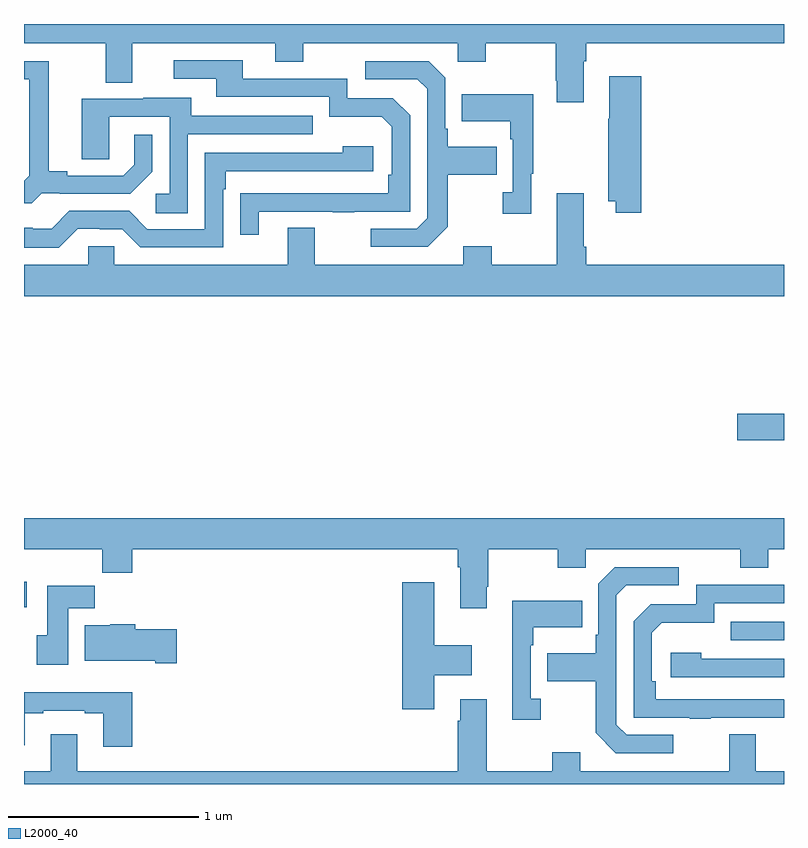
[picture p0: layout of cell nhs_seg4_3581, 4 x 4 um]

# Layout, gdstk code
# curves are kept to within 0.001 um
import gdstk
lib = gdstk.Library(unit=1e-6, precision=1e-09)
def R(c, l, rs):  # rectangles x0, y0, x1, y1
    for r in rs: c.add(gdstk.rectangle(r[:2], r[2:], *l))
def P(c, l, *ps):  # polygons
    for p in ps: c.add(gdstk.Polygon(p, *l))
L2000_40 = (2000, 40)

nhs_seg4_3581 = lib.new_cell('nhs_seg4_3581')
R(nhs_seg4_3581, L2000_40, [(302.719,813.657,303,813.753), (299,813.83,299.014,813.964), (302.754,814.708,303,814.85)])
P(nhs_seg4_3581, L2000_40, [(301.945,816.704),(301.958,816.704),(301.958,816.8),(303,816.8),(303,816.9),(299,816.9),(299,816.8),(299.429,816.8),(299.429,816.592),(299.569,816.592),(299.569,816.8),(300.323,816.8),(300.323,816.701),(300.471,816.701),(300.471,816.8),(301.284,816.8),(301.284,816.701),(301.431,816.701),(301.431,816.8),(301.798,816.8),(301.798,816.601),(301.805,816.601),(301.805,816.489),(301.945,816.489)],
  [(300.235,815.913),(300.625,815.913),(300.625,815.908),(300.737,815.908),(300.737,815.913),(301.032,815.913),(301.032,816.42),(300.942,816.51),(300.702,816.51),(300.702,816.612),(300.151,816.612),(300.151,816.708),(299.787,816.708),(299.787,816.612),(300.011,816.612),(300.011,816.516),(300.606,816.516),(300.606,816.413),(300.883,816.413),(300.936,816.36),(300.936,816.106),(300.916,816.106),(300.916,816.009),(300.139,816.008),(300.139,815.79),(300.235,815.79)],
  [(299.094,816.009),(299.188,816.009),(299.188,816.006),(299.56,816.006),(299.676,816.122),(299.676,816.316),(299.579,816.316),(299.579,816.159),(299.522,816.102),(299.227,816.102),(299.227,816.125),(299.131,816.125),(299.131,816.705),(299,816.705),(299,816.609),(299.027,816.609),(299.027,816.101),(299,816.074),(299,815.957),(299.042,815.957)],
  [(301.231,815.833),(301.231,816.106),(301.487,816.106),(301.487,816.253),(301.231,816.253),(301.231,816.349),(301.218,816.349),(301.218,816.618),(301.131,816.705),(300.795,816.705),(300.795,816.609),(301.071,816.609),(301.122,816.558),(301.122,815.877),(301.068,815.823),(300.825,815.823),(300.825,815.727),(301.125,815.727)],
  [(302.249,816.625),(302.081,816.625),(302.081,816.401),(302.074,816.401),(302.074,815.966),(302.114,815.966),(302.114,815.907),(302.249,815.907)],
  [(301.669,816.113),(301.681,816.113),(301.681,816.529),(301.303,816.529),(301.303,816.389),(301.56,816.389),(301.56,816.293),(301.572,816.293),(301.572,816.014),(301.521,816.014),(301.521,815.901),(301.669,815.901)],
  [(299.862,816.321),(300.521,816.321),(300.521,816.417),(299.881,816.417),(299.881,816.511),(299.627,816.511),(299.627,816.507),(299.303,816.507),(299.303,816.187),(299.448,816.187),(299.448,816.411),(299.766,816.411),(299.766,816.006),(299.694,816.006),(299.694,815.905),(299.862,815.905)],
  [(299.283,815.823),(299.399,815.823),(299.399,815.82),(299.517,815.82),(299.613,815.724),(300.048,815.724),(300.048,816.029),(300.061,816.029),(300.061,816.126),(300.838,816.126),(300.838,816.256),(300.677,816.256),(300.677,816.222),(299.952,816.222),(299.952,815.82),(299.649,815.82),(299.553,815.916),(299.238,815.916),(299.145,815.823),(299.045,815.823),(299.045,815.827),(299,815.827),(299,815.723),(299.183,815.723)],
  [(303,815.632),(301.958,815.632),(301.958,815.728),(301.945,815.728),(301.945,816.01),(301.805,816.01),(301.805,815.632),(301.461,815.632),(301.461,815.731),(301.313,815.731),(301.313,815.632),(300.529,815.632),(300.529,815.827),(300.389,815.827),(300.389,815.632),(299.475,815.632),(299.475,815.73),(299.337,815.73),(299.337,815.632),(299,815.632),(299,815.468),(303,815.468)],
  [(301.435,813.937),(301.443,813.937),(301.443,814.136),(301.81,814.136),(301.81,814.037),(301.956,814.037),(301.956,814.136),(302.77,814.136),(302.77,814.037),(302.917,814.037),(302.917,814.136),(303,814.136),(303,814.3),(299,814.3),(299,814.136),(299.413,814.136),(299.413,814.012),(299.57,814.012),(299.57,814.136),(301.283,814.136),(301.283,814.04),(301.295,814.04),(301.295,813.825),(301.435,813.825)],
  [(302.416,813.159),(302.172,813.159),(302.118,813.213),(302.118,813.894),(302.169,813.945),(302.446,813.945),(302.446,814.041),(302.109,814.041),(302.022,813.954),(302.022,813.685),(302.01,813.685),(302.01,813.589),(301.753,813.589),(301.753,813.442),(302.01,813.442),(302.01,813.169),(302.115,813.063),(302.416,813.063)],
  [(301.159,813.473),(301.357,813.473),(301.357,813.631),(301.159,813.631),(301.159,813.961),(300.992,813.961),(300.992,813.294),(301.159,813.294)],
  [(302.615,813.249),(303,813.249),(303,813.344),(302.324,813.345),(302.324,813.442),(302.304,813.442),(302.304,813.696),(302.357,813.749),(302.634,813.749),(302.634,813.852),(303,813.852),(303,813.948),(302.538,813.948),(302.538,813.846),(302.298,813.846),(302.208,813.756),(302.208,813.249),(302.503,813.249),(302.503,813.244),(302.615,813.244)],
  [(299.233,813.824),(299.372,813.824),(299.372,813.943),(299.123,813.943),(299.123,813.684),(299.066,813.684),(299.066,813.528),(299.233,813.528)],
  [(301.72,813.35),(301.668,813.35),(301.668,813.629),(301.681,813.629),(301.681,813.725),(301.937,813.725),(301.937,813.865),(301.571,813.865),(301.571,813.237),(301.72,813.237)],
  [(299.803,813.714),(299.585,813.714),(299.585,813.742),(299.454,813.742),(299.454,813.736),(299.321,813.736),(299.321,813.548),(299.69,813.548),(299.69,813.536),(299.803,813.536)],
  [(303,813.558),(302.564,813.558),(302.564,813.592),(302.403,813.592),(302.403,813.462),(303,813.462)],
  [(299.57,813.382),(299,813.382),(299,813.104),(299.005,813.104),(299.005,813.273),(299.101,813.273),(299.101,813.285),(299.321,813.285),(299.321,813.273),(299.417,813.273),(299.417,813.096),(299.57,813.096)],
  [(303,812.968),(302.851,812.968),(302.851,813.163),(302.711,813.163),(302.711,812.968),(301.927,812.968),(301.927,813.067),(301.78,813.067),(301.78,812.968),(301.435,812.968),(301.435,813.346),(301.295,813.346),(301.295,813.233),(301.283,813.233),(301.283,812.968),(299.281,812.968),(299.281,813.163),(299.141,813.163),(299.141,812.968),(299,812.968),(299,812.9),(303,812.9)])

lib.write_gds('nhs_seg4_3581.gds')
